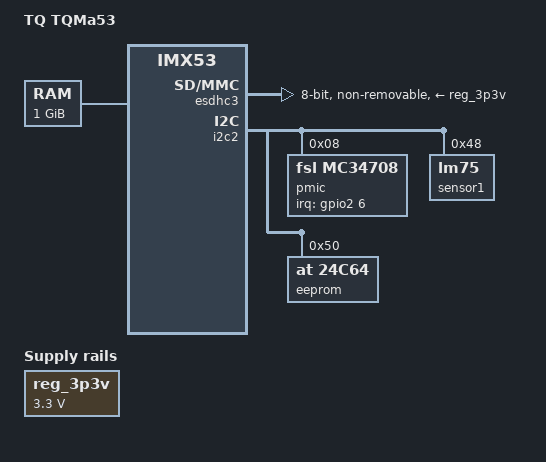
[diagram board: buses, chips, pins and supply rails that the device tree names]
/*
 * Copyright 2012 Sascha Hauer <s.hauer@pengutronix.de>, Pengutronix
 * Copyright 2012 Steffen Trumtrar <s.trumtrar@pengutronix.de>, Pengutronix
 *
 * The code contained herein is licensed under the GNU General Public
 * License. You may obtain a copy of the GNU General Public License
 * Version 2 or later at the following locations:
 *
 * http://www.opensource.org/licenses/gpl-license.html
 * http://www.gnu.org/copyleft/gpl.html
 */

#include "imx53.dtsi"

/ {
	model = "TQ TQMa53";
	compatible = "tq,tqma53", "fsl,imx53";

	memory {
		reg = <0x70000000 0x40000000>; /* Up to 1GiB */
	};

	regulators {
		compatible = "simple-bus";

		reg_3p3v: 3p3v {
			compatible = "regulator-fixed";
			regulator-name = "3P3V";
			regulator-min-microvolt = <3300000>;
			regulator-max-microvolt = <3300000>;
			regulator-always-on;
		};
	};
};

&esdhc2 {
	pinctrl-names = "default";
	pinctrl-0 = <&pinctrl_esdhc2>,
		    <&pinctrl_esdhc2_cdwp>;
	vmmc-supply = <&reg_3p3v>;
	wp-gpios = <&gpio1 2 0>;
	cd-gpios = <&gpio1 4 0>;
	status = "disabled";
};

&uart3 {
	pinctrl-names = "default";
	pinctrl-0 = <&pinctrl_uart3>;
	status = "disabled";
};

&ecspi1 {
	pinctrl-names = "default";
	pinctrl-0 = <&pinctrl_ecspi1>;
	fsl,spi-num-chipselects = <4>;
	cs-gpios = <&gpio2 30 0>, <&gpio3 19 0>,
		   <&gpio3 24 0>, <&gpio3 25 0>;
	status = "disabled";
};

&esdhc3 { /* EMMC */
	pinctrl-names = "default";
	pinctrl-0 = <&pinctrl_esdhc3>;
	vmmc-supply = <&reg_3p3v>;
	non-removable;
	bus-width = <8>;
	status = "okay";
};

&iomuxc {
	pinctrl-names = "default";
	pinctrl-0 = <&pinctrl_hog>;

	imx53-tqma53 {
		pinctrl_hog: hoggrp {
			fsl,pins = <
				 MX53_PAD_GPIO_0__CCM_SSI_EXT1_CLK 0x80000000 /* SSI_MCLK */
				 MX53_PAD_PATA_DA_1__GPIO7_7     0x80000000 /* LCD_BLT_EN */
				 MX53_PAD_PATA_DA_2__GPIO7_8     0x80000000 /* LCD_RESET */
				 MX53_PAD_PATA_DATA5__GPIO2_5    0x80000000 /* LCD_POWER */
				 MX53_PAD_PATA_DATA6__GPIO2_6    0x80000000 /* PMIC_INT */
				 MX53_PAD_PATA_DATA14__GPIO2_14  0x80000000 /* CSI_RST */
				 MX53_PAD_PATA_DATA15__GPIO2_15  0x80000000 /* CSI_PWDN */
				 MX53_PAD_GPIO_19__GPIO4_5 	 0x80000000 /* #SYSTEM_DOWN */
				 MX53_PAD_GPIO_3__GPIO1_3        0x80000000
				 MX53_PAD_PATA_DA_0__GPIO7_6	 0x80000000 /* #PHY_RESET */
				 MX53_PAD_GPIO_1__PWM2_PWMO	 0x80000000 /* LCD_CONTRAST */
			>;
		};

		pinctrl_audmux: audmuxgrp {
			fsl,pins = <MX53_AUDMUX_PINGRP1>;
		};

		pinctrl_can1: can1grp {
			fsl,pins = <MX53_CAN1_PINGRP2>;
		};

		pinctrl_can2: can2grp {
			fsl,pins = <MX53_CAN2_PINGRP1>;
		};

		pinctrl_cspi: cspigrp {
			fsl,pins = <MX53_CSPI_PINGRP1>;
		};

		pinctrl_ecspi1: ecspi1grp {
			fsl,pins = <MX53_ECSPI1_PINGRP1>;
		};

		pinctrl_esdhc2: esdhc2grp {
			fsl,pins = <MX53_ESDHC2_PINGRP1>;
		};

		pinctrl_esdhc2_cdwp: esdhc2cdwp {
			fsl,pins = <
				MX53_PAD_GPIO_4__GPIO1_4	0x80000000 /* SD2_CD */
				MX53_PAD_GPIO_2__GPIO1_2	0x80000000 /* SD2_WP */
			>;
		};

		pinctrl_esdhc3: esdhc3grp {
			fsl,pins = <MX53_ESDHC3_PINGRP1>;
		};

		pinctrl_fec: fecgrp {
			fsl,pins = <MX53_FEC_PINGRP1>;
		};

		pinctrl_i2c2: i2c2grp {
			fsl,pins = <MX53_I2C2_PINGRP1>;
		};

		pinctrl_i2c3: i2c3grp {
			fsl,pins = <MX53_I2C3_PINGRP1>;
		};

		pinctrl_uart1: uart1grp {
			fsl,pins = <MX53_UART1_PINGRP2>;
		};

		pinctrl_uart2: uart2grp {
			fsl,pins = <MX53_UART2_PINGRP1>;
		};

		pinctrl_uart3: uart3grp {
			fsl,ps = <MX53_UART3_PINGRP2>;
		};
	};
};

&uart1 {
	pinctrl-names = "default";
	pinctrl-0 = <&pinctrl_uart1>;
	fsl,uart-has-rtscts;
	status = "disabled";
};

&uart2 {
	pinctrl-names = "default";
	pinctrl-0 = <&pinctrl_uart2>;
	status = "disabled";
};

&can1 {
	pinctrl-names = "default";
	pinctrl-0 = <&pinctrl_can1>;
	status = "disabled";
};

&can2 {
	pinctrl-names = "default";
	pinctrl-0 = <&pinctrl_can2>;
	status = "disabled";
};

&i2c3 {
	pinctrl-names = "default";
	pinctrl-0 = <&pinctrl_i2c3>;
	status = "disabled";
};

&cspi {
	pinctrl-names = "default";
	pinctrl-0 = <&pinctrl_cspi>;
	fsl,spi-num-chipselects = <3>;
	cs-gpios = <&gpio1 18 0>, <&gpio1 19 0>,
		   <&gpio1 21 0>;
	status = "disabled";
};

&i2c2 {
	pinctrl-names = "default";
	pinctrl-0 = <&pinctrl_i2c2>;
	status = "okay";

	pmic: mc34708@8 {
		compatible = "fsl,mc34708";
		reg = <0x8>;
		fsl,mc13xxx-uses-rtc;
		interrupt-parent = <&gpio2>;
		interrupts = <6 4>; /* PATA_DATA6, active high */
	};

	sensor1: lm75@48 {
		compatible = "lm75";
		reg = <0x48>;
	};

	eeprom: 24c64@50 {
		compatible = "at,24c64";
		pagesize = <32>;
		reg = <0x50>;
	};
};

&fec {
	pinctrl-names = "default";
	pinctrl-0 = <&pinctrl_fec>;
	phy-mode = "rmii";
	status = "disabled";
};
